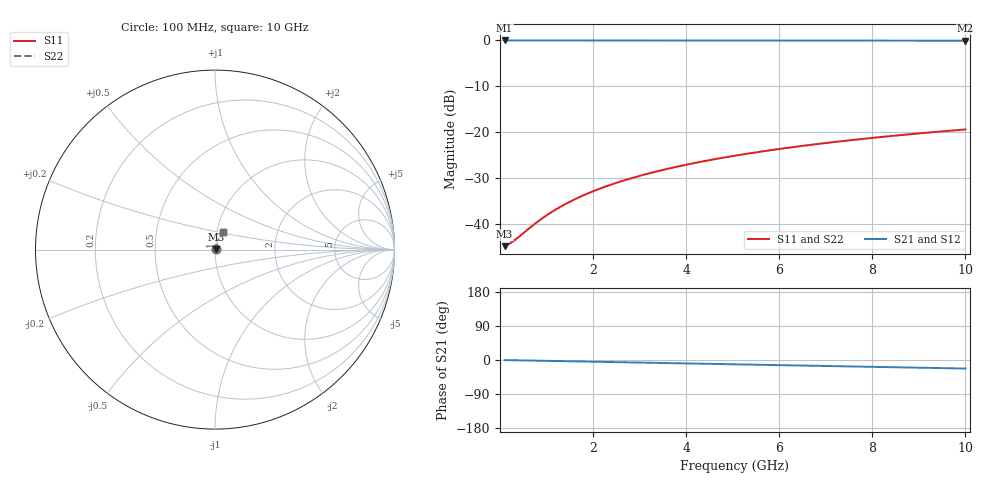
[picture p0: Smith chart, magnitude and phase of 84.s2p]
# Hz S RI R 50.00
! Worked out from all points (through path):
!   100 points, 100 MHz to 10 GHz, reference 50 ohm
!   highest |S21| = -0.05 dB at 100 MHz (marker M1); lowest = -0.1 dB at 10 GHz (marker M2)
!   group delay of S21, straight-line fit = 6.26 ps
!   lowest |S11| = -44.8 dB at 100 MHz (marker M3), VSWR 1.01, Z = 50.6 + j0.109 ohm
!   |S11| at or under -10 dB: start of sweep to end of sweep
!   |S22| runs from -44.8 to -19.4 dB; largest |S21 - S12| = 0
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1e8  0.00568 0.00108  0.9943 -0.00392  0.9943 -0.00392  0.00568 0.00108
2e8  0.00573 0.00216  0.9943 -0.00784  0.9943 -0.00784  0.00573 0.00216
3e8  0.00577 0.00324  0.9942 -0.0118  0.9942 -0.0118  0.00577 0.00324
8e8  0.00609 0.00864  0.9936 -0.0313  0.9936 -0.0313  0.00609 0.00864
9e8  0.00617 0.00972  0.9935 -0.0352  0.9935 -0.0352  0.00617 0.00972
1.1e9  0.00637 0.0119  0.9931 -0.0431  0.9931 -0.0431  0.00637 0.0119
1.4e9  0.00671 0.0151  0.9925 -0.0548  0.9925 -0.0548  0.00671 0.0151
1.6e9  0.00699 0.0172  0.9919 -0.0626  0.9919 -0.0626  0.00699 0.0172
1.8e9  0.00729 0.0194  0.9914 -0.0704  0.9914 -0.0704  0.00729 0.0194
2.1e9  0.00781 0.0226  0.9904 -0.0821  0.9904 -0.0821  0.00781 0.0226
2.5e9  0.00862 0.0268  0.9888 -0.0977  0.9888 -0.0977  0.00862 0.0268
2.9e9  0.00956 0.031  0.987 -0.1133  0.987 -0.1133  0.00956 0.031
3.4e9  0.0109 0.0362  0.9843 -0.1326  0.9843 -0.1326  0.0109 0.0362
3.8e9  0.0121 0.0404  0.9819 -0.1481  0.9819 -0.1481  0.0121 0.0404
4.2e9  0.0135 0.0445  0.9793 -0.1635  0.9793 -0.1635  0.0135 0.0445
4.6e9  0.015 0.0485  0.9763 -0.1789  0.9763 -0.1789  0.015 0.0485
5.1e9  0.017 0.0535  0.9723 -0.198  0.9723 -0.198  0.017 0.0535
5.9e9  0.0207 0.0613  0.9651 -0.2283  0.9651 -0.2283  0.0207 0.0613
6.7e9  0.0248 0.0688  0.9568 -0.2584  0.9568 -0.2584  0.0248 0.0688
7.5e9  0.0294 0.0761  0.9476 -0.2881  0.9476 -0.2881  0.0294 0.0761
8.4e9  0.0352 0.0838  0.936 -0.3211  0.936 -0.3211  0.0352 0.0838
1e10  0.0466 0.0966  0.9125 -0.3784  0.9125 -0.3784  0.0466 0.0966
